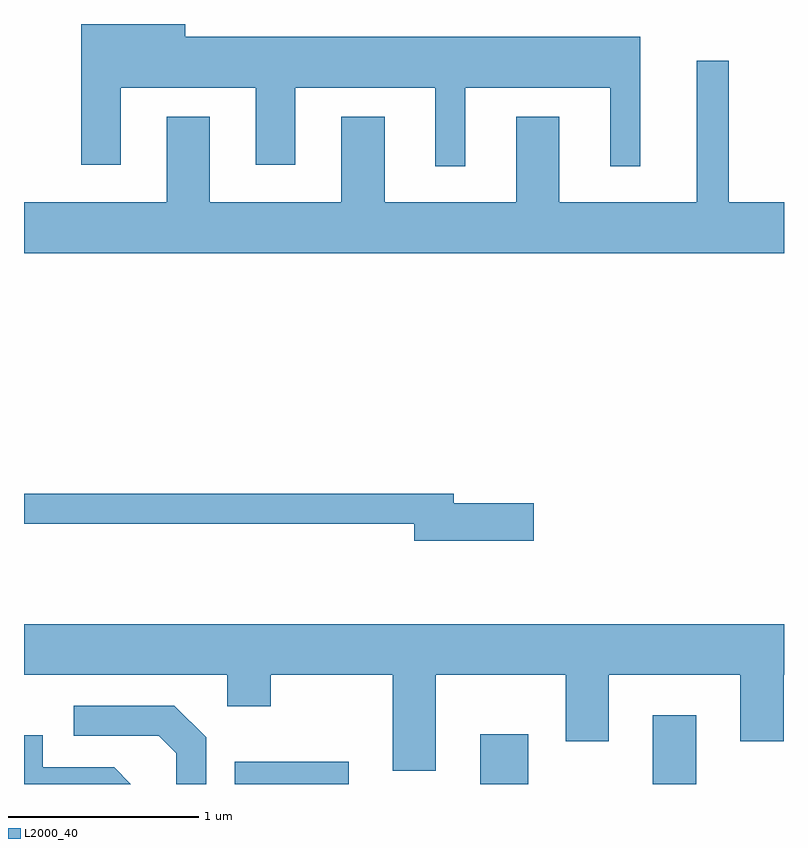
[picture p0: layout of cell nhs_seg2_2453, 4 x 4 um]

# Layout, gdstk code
import gdstk
lib = gdstk.Library(unit=1e-6, precision=1e-09)
def R(c, l, rs):  # rectangles x0, y0, x1, y1
    for r in rs: c.add(gdstk.rectangle(r[:2], r[2:], *l))
def P(c, l, *ps):  # polygons
    for p in ps: c.add(gdstk.Polygon(p, *l))
L2000_40 = (2000, 40)

nhs_seg2_2453 = lib.new_cell('nhs_seg2_2453')
R(nhs_seg2_2453, L2000_40, [(258.721,987.802,259.319,987.919), (260.011,987.802,260.264,988.064), (260.921,987.802,261.149,988.164)])
P(nhs_seg2_2453, L2000_40, [(259.934,991.466),(260.696,991.466),(260.696,991.053),(260.854,991.053),(260.854,991.734),(258.459,991.734),(258.459,991.802),(257.911,991.802),(257.911,991.061),(258.119,991.061),(258.119,991.466),(258.831,991.466),(258.831,991.061),(259.039,991.061),(259.039,991.466),(259.776,991.466),(259.776,991.053),(259.934,991.053)],
  [(261.611,990.864),(261.319,990.864),(261.319,991.608),(261.151,991.608),(261.151,990.864),(260.429,990.864),(260.429,991.314),(260.201,991.314),(260.201,990.864),(259.509,990.864),(259.509,991.314),(259.281,991.314),(259.281,990.864),(258.589,990.864),(258.589,991.314),(258.361,991.314),(258.361,990.864),(257.611,990.864),(257.611,990.596),(261.611,990.596)],
  [(260.294,989.279),(259.874,989.279),(259.874,989.329),(257.611,989.329),(257.611,989.171),(259.666,989.171),(259.666,989.081),(260.294,989.081)],
  [(259.779,988.376),(260.461,988.376),(260.461,988.026),(260.689,988.026),(260.689,988.376),(261.381,988.376),(261.381,988.026),(261.609,988.026),(261.609,988.376),(261.611,988.376),(261.611,988.644),(257.611,988.644),(257.611,988.376),(258.681,988.376),(258.681,988.211),(258.909,988.211),(258.909,988.376),(259.551,988.376),(259.551,987.871),(259.779,987.871)],
  [(258.569,988.047),(258.402,988.214),(257.873,988.214),(257.873,988.056),(258.319,988.056),(258.411,987.964),(258.411,987.802),(258.569,987.802)],
  [(258.087,987.889),(257.709,987.889),(257.709,988.059),(257.611,988.059),(257.611,987.802),(258.174,987.802)])

lib.write_gds('nhs_seg2_2453.gds')
